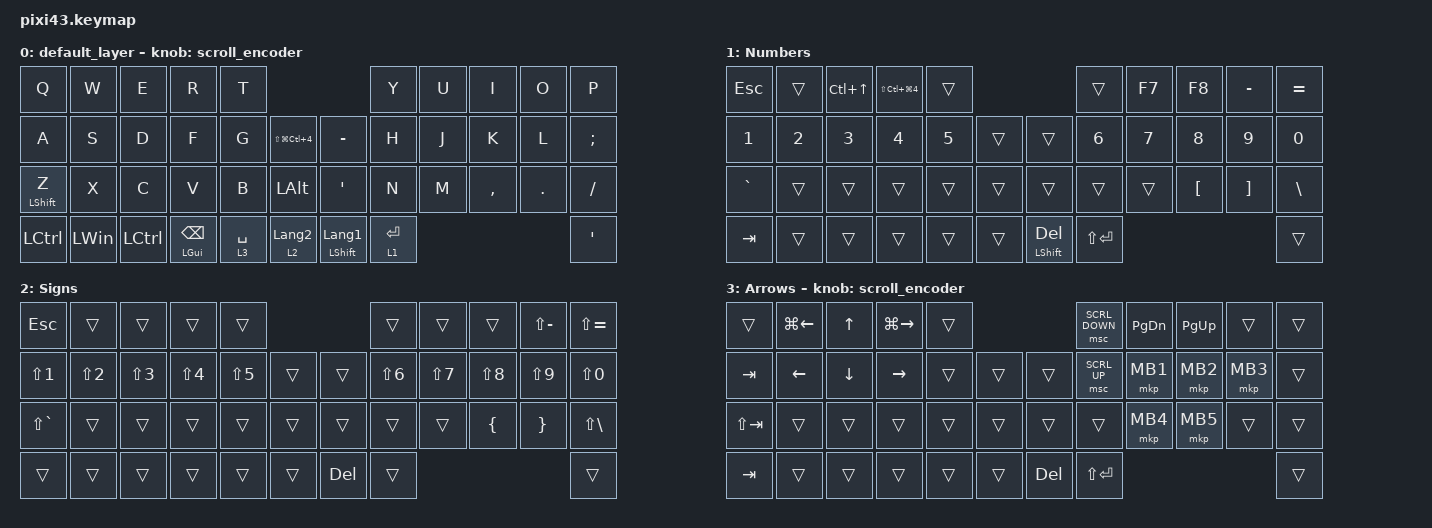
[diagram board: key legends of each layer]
#include <behaviors.dtsi>
#include <dt-bindings/zmk/keys.h>
#include <dt-bindings/zmk/pointing.h>

&mt {
    flavor = "balanced";
    quick-tap-ms = <0>;
};

&trackball {
    // automouse-layer = <4>;
    // scroll-layers = <5>;
    // arrows {
    //     layers = <3>;
    //     bindings =
    //         <&kp RIGHT_ARROW>,
    //         <&kp LEFT_ARROW>,
    //         <&kp UP_ARROW>,
    //         <&kp DOWN_ARROW>;
    //     tick = <10>;
    //     wait-ms = <5>;
    //     tap-ms = <5>;
    // };
};

/ {
    combos {
        compatible = "zmk,combos";

        tab {
            bindings = <&kp TAB>;
            key-positions = <11 10>;
        };

        shift_tab {
            bindings = <&kp LS(TAB)>;
            key-positions = <12 11>;
        };

        double_quotation {
            bindings = <&kp SQT>;
            key-positions = <20 21>;
        };

        cmd_space {
            bindings = <&kp LG(SPACE)>;
            key-positions = <38 41>;
            timeout-ms = <50>;
        };
    };

    macros {
        to_layer_0: to_layer_0 {
            compatible = "zmk,behavior-macro-one-param";
            #binding-cells = <1>;
            bindings = <&to 0 &macro_param_1to1 &kp MACRO_PLACEHOLDER>;
            label = "TO_LAYER_0";
        };
    };

    behaviors {
        lt_to_layer_0: lt_to_layer_0 {
            compatible = "zmk,behavior-hold-tap";
            label = "LAYER_TAP_TO_0";
            bindings = <&mo>, <&to_layer_0>;

            #binding-cells = <2>;
            tapping-term-ms = <200>;
        };

        scroll_encoder: scroll_encoder {
            compatible = "zmk,behavior-sensor-rotate";
            #sensor-binding-cells = <0>;
            bindings = <&msc MOVE_Y(64)>, <&msc MOVE_Y(-64)>;

            tap-ms = <25>;
        };
    };

    keymap {
        compatible = "zmk,keymap";

        default_layer {
            bindings = <
&kp Q             &kp W         &kp E             &kp R                   &kp T                                                                 &kp Y        &kp U  &kp I      &kp O    &kp P
&kp A             &kp S         &kp D             &kp F                   &kp G        &kp LS(LG(LC(NUMBER_4)))      &kp MINUS                  &kp H        &kp J  &kp K      &kp L    &kp SEMICOLON
&mt LEFT_SHIFT Z  &kp X         &kp C             &kp V                   &kp B        &kp LEFT_ALT                  &kp SQT                    &kp N        &kp M  &kp COMMA  &kp DOT  &kp SLASH
&kp LEFT_CONTROL  &kp LEFT_WIN  &kp LEFT_CONTROL  &mt LEFT_GUI BACKSPACE  &lt 3 SPACE  &lt 2 LANGUAGE_2              &mt LEFT_SHIFT LANGUAGE_1  &lt 1 ENTER                             &kp SQT
            >;

            sensor-bindings = <&scroll_encoder>;
        };

        Numbers {
            bindings = <
&kp ESC       &trans        &kp LC(UP_ARROW)  &kp LS(LC(LG(NUMBER_4)))  &trans                                     &trans         &kp F7  &kp F8            &kp MINUS          &kp EQUAL
&kp NUMBER_1  &kp NUMBER_2  &kp NUMBER_3      &kp NUMBER_4              &kp N5  &trans      &trans                 &kp NUMBER_6   &kp N7  &kp NUMBER_8      &kp NUMBER_9       &kp N0
&kp GRAVE     &trans        &trans            &trans                    &trans  &trans      &trans                 &trans         &trans  &kp LEFT_BRACKET  &kp RIGHT_BRACKET  &kp BACKSLASH
&kp TAB       &trans        &trans            &trans                    &trans  &trans      &mt LEFT_SHIFT DELETE  &kp LS(ENTER)                                               &trans
            >;
        };

        Signs {
            bindings = <
&kp ESC           &trans      &trans            &trans            &trans                              &trans            &trans      &trans          &kp LS(MINUS)    &kp LS(EQUAL)
&kp LS(NUMBER_1)  &kp LS(N2)  &kp LS(NUMBER_3)  &kp LS(NUMBER_4)  &kp LS(N5)  &trans      &trans      &kp LS(NUMBER_6)  &kp LS(N7)  &kp LS(N8)      &kp LS(N9)       &kp LS(N0)
&kp LS(GRAVE)     &trans      &trans            &trans            &trans      &trans      &trans      &trans            &trans      &kp LEFT_BRACE  &kp RIGHT_BRACE  &kp LS(BACKSLASH)
&trans            &trans      &trans            &trans            &trans      &trans      &kp DELETE  &trans                                                         &trans
            >;
        };

        Arrows {
            bindings = <
&trans       &kp LG(LEFT_ARROW)  &kp UP_ARROW    &kp LG(RIGHT_ARROW)  &trans                          &msc SCRL_DOWN  &kp PAGE_DOWN  &kp PAGE_UP  &trans    &trans
&kp TAB      &kp LEFT_ARROW      &kp DOWN_ARROW  &kp RIGHT_ARROW      &trans  &trans      &trans      &msc SCRL_UP    &mkp MB1       &mkp MB2     &mkp MB3  &trans
&kp LS(TAB)  &trans              &trans          &trans               &trans  &trans      &trans      &trans          &mkp MB4       &mkp MB5     &trans    &trans
&kp TAB      &trans              &trans          &trans               &trans  &trans      &kp DELETE  &kp LS(ENTER)                                         &trans
            >;

            sensor-bindings = <&scroll_encoder>;
        };
    };
};
